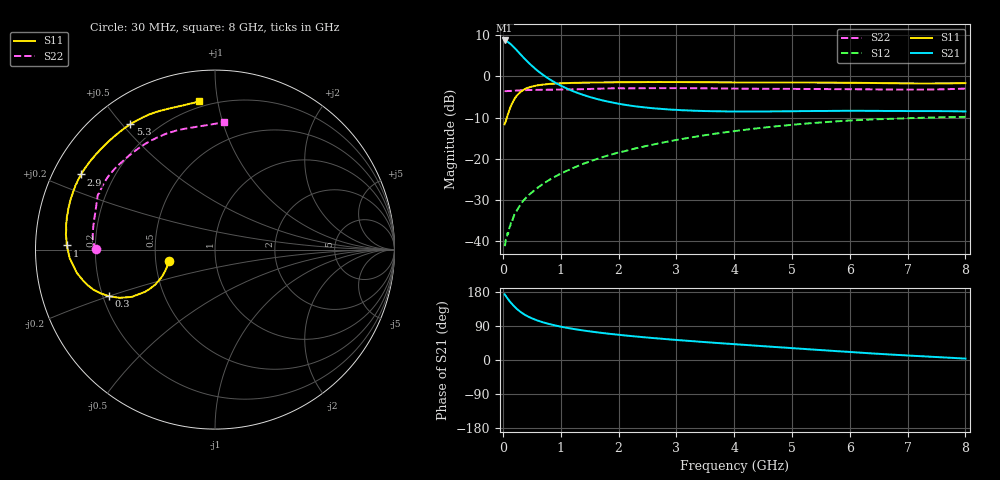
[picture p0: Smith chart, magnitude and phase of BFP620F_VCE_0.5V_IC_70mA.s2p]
! Infineon Technologies  Discrete & RF Semiconductors
! BFP620F
! VCE =  0.5 V,  IC =  70 mA
! Common Emitter S-Parameters:  Dec 2014
# GHz  S  MA  R  50
!  f  S11  S21  S12  S22
! GHz  MAG  ANG  MAG  ANG  MAG  ANG  MAG  ANG
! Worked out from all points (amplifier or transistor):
!   95 points, 30 MHz to 8 GHz, reference 50 ohm
!   highest |S21| = 8.7 dB at 30 MHz (marker M1)
!   |S21| within 3 dB of that: start of sweep to 280.9 MHz
!   unconditionally stable (mu >= 1): start of sweep to end of sweep
!   at 300 MHz: K = 3.51, MAG = 10.0 dB, |S12| = -31.2 dB
!   at 3.3 GHz: K = 1.56, MAG = -1.2 dB, |S12| = -14.7 dB
!   at 8 GHz: K = 1.28, MAG = -2.5 dB, |S12| = -9.8 dB
!   S11 on the Smith chart (normalised r, x): 30 MHz: 0.59, -0.08; 300 MHz: 0.23, -0.20; 1 GHz: 0.10, +0.01; 2.9 GHz: 0.08, +0.26; 5.3 GHz: 0.11, +0.53; 8 GHz: 0.17, +0.88
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0.03  0.2626 -166.2  2.736 173.2  0.0087 20.4  0.6648 179.6
0.08  0.3345 -152.7  2.639 162.5  0.0126 39.8  0.6655 179.3
0.09  0.3518 -151.5  2.608 160.6  0.0121 41.9  0.6648 179.4
0.14  0.4399 -148.9  2.448 150.9  0.0171 48.7  0.6677 178.8
0.15  0.4568 -148.9  2.416 149.2  0.0168 50.0  0.6688 178.8
0.2  0.5334 -150.4  2.231 140.9  0.0211 52.9  0.6717 178.3
0.25  0.596 -153.2  2.045 133.7  0.0241 54.8  0.6755 177.5
0.3  0.6443 -156.2  1.873 127.5  0.0275 56.3  0.6782 176.8
0.35  0.6825 -159.1  1.716 122.2  0.0308 57.6  0.6802 176.0
0.45  0.7357 -164.3  1.457 113.6  0.0364 58.3  0.6843 174.4
0.6  0.7813 -170.5  1.174 104.1  0.0445 60.1  0.6875 172.0
0.8  0.8113 -176.7  0.931 95.0  0.0553 61.0  0.6904 169.1
1  0.8263 178.4  0.775 88.1  0.0661 61.7  0.6935 166.2
1.4  0.8412 170.6  0.594 77.7  0.0875 61.0  0.7021 161.0
2  0.8508 161.7  0.467 66.6  0.1194 58.1  0.7211 154.6
2.7  0.8557 153.1  0.406 56.7  0.1542 53.3  0.7214 148.9
2.9  0.8555 150.7  0.396 54.1  0.1644 51.7  0.7214 147.3
4.1  0.8462 136.8  0.376 40.7  0.2214 41.5  0.7114 135.7
5.3  0.8426 124.1  0.38 28.2  0.2699 30.0  0.7046 121.3
5.4  0.8427 123.1  0.381 27.2  0.2732 29.1  0.7043 120.1
6.7  0.828 109.4  0.381 14.5  0.3061 16.5  0.6938 103.7
8  0.8301 96.2  0.376 3.7  0.3229 5.5  0.7122 85.9
